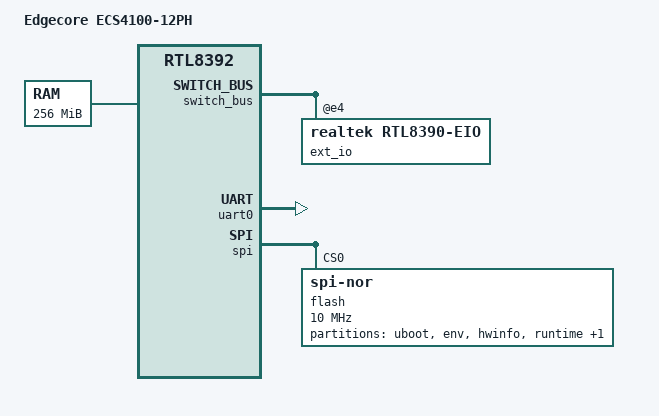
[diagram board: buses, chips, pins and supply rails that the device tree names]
// SPDX-License-Identifier: GPL-2.0-or-later OR BSD-2-Clause

/dts-v1/;

#include <dt-bindings/leds/common.h>

#include "rtl83xx.dtsi"
#include "rtl839x.dtsi"
#include "rtl8392.dtsi"

/ {
	model = "Edgecore ECS4100-12PH";
	compatible = "edgecore,ecs4100-12ph", "realtek,rtl8392-soc";

	chosen {
		stdout-path = "serial0:115200n8";
		bootargs = "earlycon console=ttyS0,115200";
	};

	memory@0 {
		device_type = "memory";
		reg = <0x0 0x10000000>;
	};
};

&switch_bus {
	ext_io: ext-io@e4 {
		compatible = "realtek,rtl8390-eio", "syscon";
		reg = <0xe4 0x17c>;

		led_sys: sys-led {
			active-low;
			color = <LED_COLOR_ID_GREEN>;
			function = LED_FUNCTION_STATUS;
			linux,default-trigger = "default-on";
		};
	};
};

&uart0 {
	status = "okay";
};

&spi {
	status = "okay";

	flash@0 {
		compatible = "jedec,spi-nor";
		spi-max-frequency = <10000000>;
		reg = <0>;
		m25p,fast-read;
		broken-flash-reset;

		partitions {
			compatible = "fixed-partitions";
			#address-cells = <1>;
			#size-cells = <1>;

			uboot: partition@0 {
				label = "uboot";
				reg = <0x0 0x100000>;
				read-only;
			};

			env: partition@100000 {
				label = "env";
				reg = <0x100000 0x80000>;
				read-only;
			};

			hwinfo: partition@180000 {
				label = "hwinfo";
				reg = <0x180000 0x8000>;
				read-only;
			};

			runtime: partition@200000 {
				label = "runtime";
				reg = <0x200000 0x500000>;
			};

			runtime2: partition@500000 {
				label = "runtime2";
				reg = <0x500000 0x2000000>;
			};
		};
	};
};
